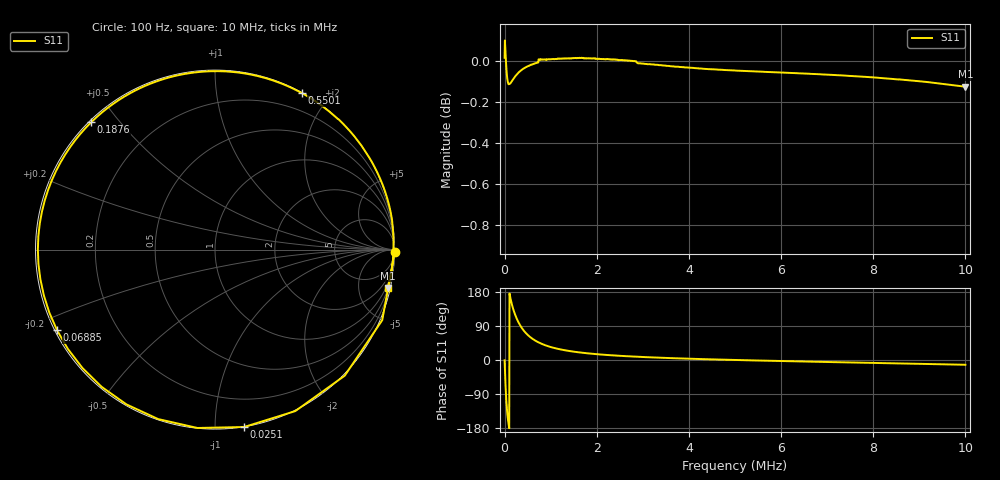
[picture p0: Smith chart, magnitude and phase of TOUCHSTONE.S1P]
!Keysight Technologies,E5061B,MY49912438,B.06.30
!Date: Thu Nov 06 19:58:21 2025
!Data & Calibration Information:
!Freq	S11:SOLT1(ON)
# Hz S RI R 50
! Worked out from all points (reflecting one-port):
!   1601 points, 100 Hz to 10 MHz, reference 50 ohm
!   lowest |S11| = -0.1 dB at 10 MHz (marker M1), VSWR 136.37, Z = 30.5 - j452 ohm
!   phase of S11 starts at -1 deg and turns -372 deg over the sweep
!   S11 on the Smith chart (normalised r, x): 100 Hz: open; 25.1 kHz: -0.00, -1.18; 68.85 kHz: 0.01, -0.24; 187.6 kHz: 0.01, +0.42; 550.1 kHz: 0.01, +1.70; 10 MHz: 0.61, -9.05
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100  1.002 -0.0125
25099.75  0.1618 -0.9885
56349.44  -0.7385 -0.6597
68849.31  -0.8797 -0.45
75099.25  -0.9234 -0.3503
87599.12  -0.9729 -0.1652
100099  -0.987 -5.1e-05
112598.9  -0.9762 0.1457
150098.5  -0.8609 0.4852
187598.1  -0.6893 0.7101
212597.9  -0.5664 0.8126
243847.6  -0.4151 0.9005
312596.9  -0.1176 0.9866
368846.3  0.0796 0.9915
425095.8  0.2377 0.967
550094.5  0.4836 0.8723
675093.2  0.635 0.7707
825091.8  0.7479 0.6647
1012590  0.8315 0.557
1250088  0.8919 0.4547
1781332  0.953 0.3068
2500075  0.9818 0.1912
3750062  0.9936 0.0758
5000050  0.9945 0.00096
6250038  0.9913 -0.0587
7500025  0.9851 -0.112
8750012  0.9755 -0.163
1e7  0.9619 -0.2143
